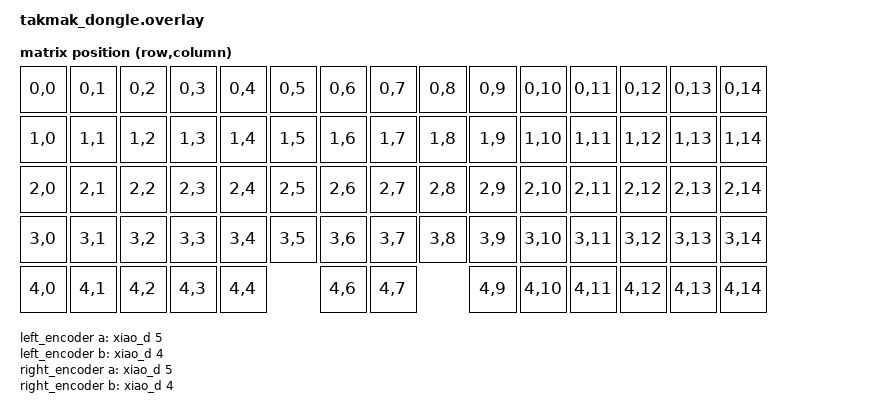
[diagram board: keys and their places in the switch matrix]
/*
 * Copyright (c) 2020 Pete Johanson
 *
 * SPDX-License-Identifier: MIT
 */

#include <dt-bindings/zmk/matrix_transform.h>
#include <dt-bindings/led/led.h>
#include "takmak-layouts.dtsi"

&physical_layout0 {
  transform = <&default_transform>; // Label of the matrix transform this layout uses
};

/ {  
  chosen {
      zmk,kscan = &mock_kscan;
      zephyr,display = &oled;
      zmk,physical-layout = &physical_layout0;
      zmk,underglow = &led_strip;
  };

  mock_kscan: kscan0 {
      compatible = "zmk,kscan-mock";
      columns = <0>;
      rows = <0>;
      events = <0>;
  };

  ext_power_mock: ext_power {
      compatible = "zmk,ext-power-generic";
      label = "EXT_POWER";
      control-gpios = <&xiao_d 0 GPIO_ACTIVE_HIGH>;
      init-delay-ms = <10>;
  };

  left_encoder: encoder_left {
      compatible = "alps,ec11";
      a-gpios = <&xiao_d 5 (GPIO_ACTIVE_HIGH | GPIO_PULL_UP)>;
      b-gpios = <&xiao_d 4 (GPIO_ACTIVE_HIGH | GPIO_PULL_UP)>;
      steps = <80>;
      status = "disabled";
  };

  right_encoder: encoder_right {
      compatible = "alps,ec11";
      a-gpios = <&xiao_d 5 (GPIO_ACTIVE_HIGH | GPIO_PULL_UP)>;
      b-gpios = <&xiao_d 4 (GPIO_ACTIVE_HIGH | GPIO_PULL_UP)>;
      steps = <80>;
      status = "disabled";
  };

  sensors: sensors {
      compatible = "zmk,keymap-sensors";
      sensors = <&left_encoder &right_encoder>;
      triggers-per-rotation = <20>;
  };

  default_transform: keymap_transform_0 {
    compatible = "zmk,matrix-transform";
    columns = <15>;
    rows = <5>;
    map = <
RC(0,0) RC(0,1) RC(0,2) RC(0,3) RC(0,4) RC(0,5) RC(0,6)  RC(0,7) RC(0,8) RC(0,9) RC(0,10) RC(0,11) RC(0,12) RC(0,13) RC(0,14)
RC(1,0) RC(1,1) RC(1,2) RC(1,3) RC(1,4) RC(1,5) RC(1,6)  RC(1,7) RC(1,8) RC(1,9) RC(1,10) RC(1,11) RC(1,12) RC(1,13) RC(1,14)
RC(2,0) RC(2,1) RC(2,2) RC(2,3) RC(2,4) RC(2,5) RC(2,6)  RC(2,7) RC(2,8) RC(2,9) RC(2,10) RC(2,11) RC(2,12) RC(2,13) RC(2,14)
RC(3,0) RC(3,1) RC(3,2) RC(3,3) RC(3,4) RC(3,5) RC(3,6)  RC(3,7) RC(3,8) RC(3,9) RC(3,10) RC(3,11) RC(3,12) RC(3,13) RC(3,14)
RC(4,0) RC(4,1) RC(4,2) RC(4,3) RC(4,4)         RC(4,6)  RC(4,7)         RC(4,9) RC(4,10) RC(4,11) RC(4,12) RC(4,13) RC(4,14)
    >;
  };
};

&xiao_i2c {
    status = "okay";

    oled: ssd1306@3c {
        compatible = "solomon,ssd1306fb";
        reg = <0x3c>;
        width = <128>;
        height = <32>;
        segment-offset = <0>;
        page-offset = <0>;
        display-offset = <0>;
        multiplex-ratio = <31>;
        com-sequential;
        prechargep = <0x22>;
    };
};

&xiao_i2c {
    status = "disabled";
};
